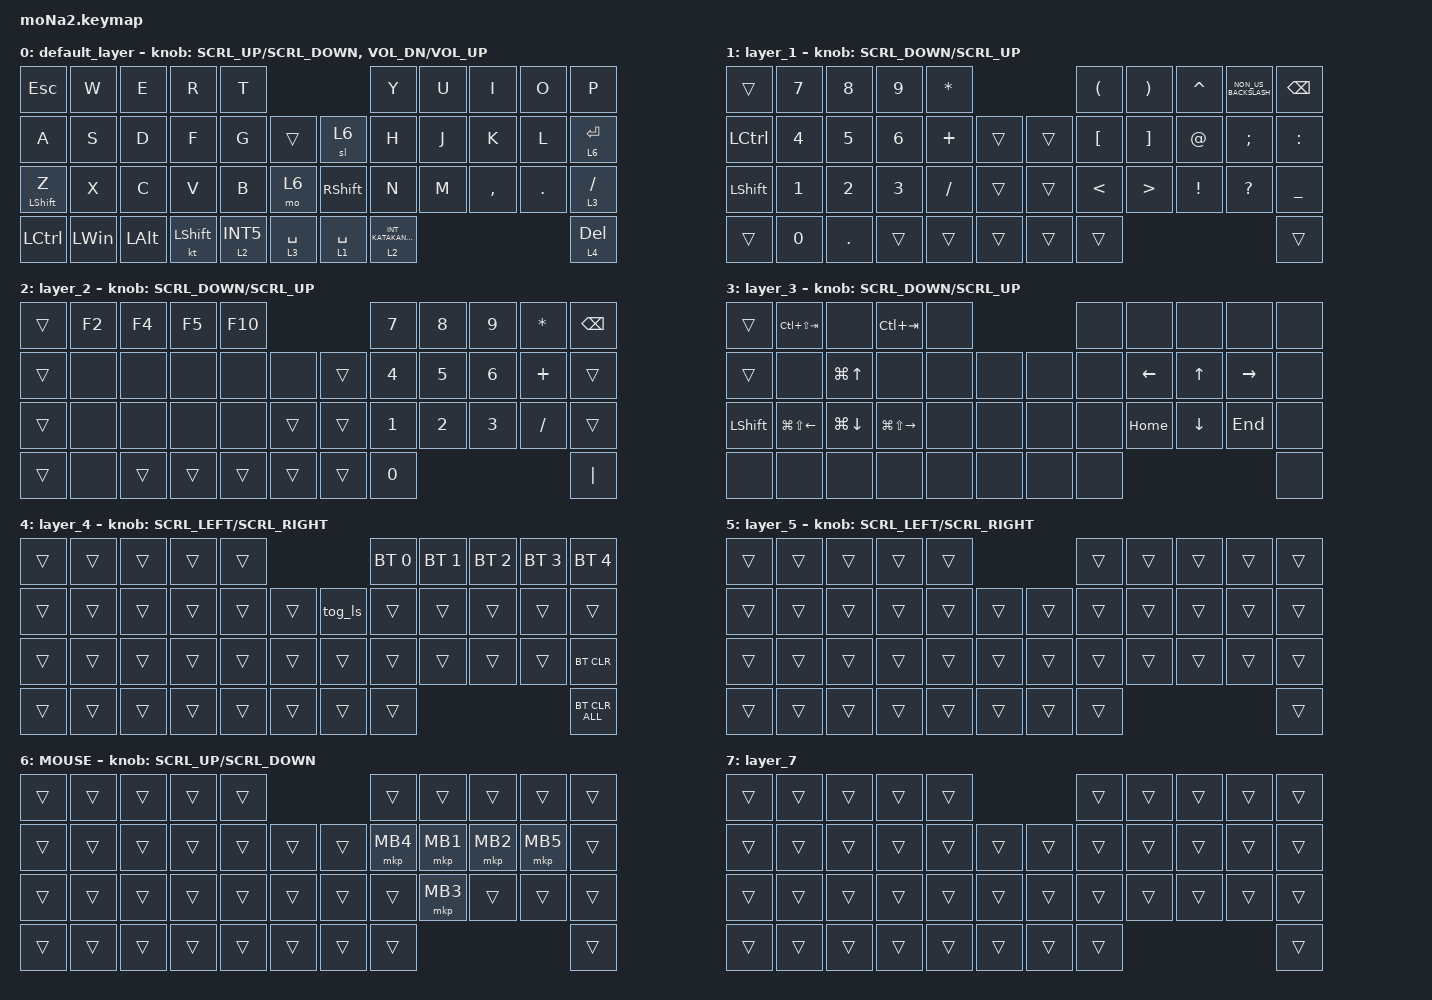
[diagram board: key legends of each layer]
#include <layout_shift.dtsi>
#include <layout_shift_kp_override.dtsi>
#include <behaviors.dtsi>
#include <dt-bindings/zmk/bt.h>
#include <dt-bindings/zmk/keys.h>
#include <dt-bindings/zmk/pointing.h>

#define ZMK_POINTING_DEFAULT_SCRL_VAL 100
#define MOUSE 6

&mt {
    flavor = "balanced";
    quick-tap-ms = <0>;
};

/ {
    combos {
        compatible = "zmk,combos";

        Qinput {
            bindings = <&kp Q>;
            key-positions = <0 1>;
        };

        hyphen {
            bindings = <&kp MINUS>;
            key-positions = <8 7>;
        };

        Backspace {
            bindings = <&kp BACKSPACE>;
            key-positions = <8 9>;
        };

        Screenshot {
            bindings = <&kp LG(LS(S))>;
            key-positions = <34 35 36>;
        };

        pagedown {
            bindings = <&kp PAGE_DOWN>;
            key-positions = <32 31>;
        };

        pageup {
            bindings = <&kp PAGE_UP>;
            key-positions = <31 30>;
        };

        new_explorer {
            bindings = <&kp LG(E)>;
            key-positions = <11 12 13>;
        };

        Left_Shift {
            bindings = <&kp LEFT_SHIFT>;
            key-positions = <22 23>;
        };

        tab {
            bindings = <&kp TAB>;
            key-positions = <10 11>;
        };
    };

    macros {
        to_layer_0: to_layer_0 {
            compatible = "zmk,behavior-macro-one-param";
            #binding-cells = <1>;
            bindings = <&to 0 &macro_param_1to1 &kp MACRO_PLACEHOLDER>;
            label = "TO_LAYER_0";
        };
    };

    behaviors {
        lt_to_layer_0: lt_to_layer_0 {
            compatible = "zmk,behavior-hold-tap";
            label = "LAYER_TAP_TO_0";
            bindings = <&mo>, <&to_layer_0>;

            #binding-cells = <2>;
            tapping-term-ms = <200>;
        };

        mouse_scroll: mouse_wheel_scrl {
            compatible = "zmk,behavior-sensor-rotate-var";
            #sensor-binding-cells = <2>;
            bindings = <&msc>, <&msc>;

            // 追加: スクロールのタップ時間を設定 (20ms)

            tap-ms = <20>;
        };

        //scroll_up_down: behavior_sensor_rotate_mouse_wheel_up_down {
        //    compatible = "zmk,behavior-sensor-rotate";
        //    #sensor-binding-cells = <0>;
        //    bindings = <&msc SCRL_UP>, <&msc SCRL_DOWN>;
        //    tap-ms = <20>;
        //};
    };

    keymap {
        compatible = "zmk,keymap";

        default_layer {
            bindings = <
&kp ESC           &kp W         &kp E         &kp R           &kp T                                       &kp Y                       &kp U  &kp I      &kp O    &kp P
&kp A             &kp S         &kp D         &kp F           &kp G       &trans         &sl 6            &kp H                       &kp J  &kp K      &kp L    &lt 6 ENTER
&mt LEFT_SHIFT Z  &kp X         &kp C         &kp V           &kp B       &mo 6          &kp RIGHT_SHIFT  &kp N                       &kp M  &kp COMMA  &kp DOT  &lt 3 SLASH
&kp LCTRL         &kp LEFT_WIN  &kp LEFT_ALT  &kt LEFT_SHIFT  &lt 2 INT5  &lt 3 SPACE    &lt 1 SPACE      &lt 2 INT_KATAKANAHIRAGANA                             &lt 4 DEL
            >;

            sensor-bindings =
                <&mouse_scroll SCRL_UP SCRL_DOWN>,
                <&inc_dec_kp C_VOL_DN C_VOL_UP>;
        };

        layer_1 {
            bindings = <
&trans            &kp N7  &kp N8   &kp N9  &kp STAR                    &kp LEFT_PARENTHESIS  &kp RIGHT_PARENTHESIS  &kp CARET        &kp NON_US_BACKSLASH  &kp BACKSPACE
&kp LEFT_CONTROL  &kp N4  &kp N5   &kp N6  &kp PLUS  &trans    &trans  &kp LBKT              &kp RBKT               &kp AT_SIGN      &kp SEMI              &kp COLON
&kp LSHFT         &kp N1  &kp N2   &kp N3  &kp FSLH  &trans    &trans  &kp LESS_THAN         &kp GREATER_THAN       &kp EXCLAMATION  &kp QUESTION          &kp UNDER
&trans            &kp N0  &kp DOT  &trans  &trans    &trans    &trans  &trans                                                                              &trans
            >;

            sensor-bindings = <&mouse_scroll SCRL_DOWN SCRL_UP>;
        };

        layer_2 {
            bindings = <
&trans  &kp F2  &kp F4  &kp F5  &kp F10                    &kp NUMBER_7  &kp NUMBER_8  &kp NUMBER_9  &kp ASTERISK  &kp BACKSPACE
&trans  &none   &none   &none   &none    &none     &trans  &kp NUMBER_4  &kp NUMBER_5  &kp NUMBER_6  &kp PLUS      &trans
&trans  &none   &none   &none   &none    &trans    &trans  &kp NUMBER_1  &kp NUMBER_2  &kp NUMBER_3  &kp SLASH     &trans
&trans  &none   &trans  &trans  &trans   &trans    &trans  &kp NUMBER_0                                            &kp PIPE
            >;

            sensor-bindings = <&mouse_scroll SCRL_DOWN SCRL_UP>;
        };

        layer_3 {
            bindings = <
&trans          &kp LC(LS(TAB))         &none               &kp LC(TAB)              &none                  &none  &none     &none         &none      &none
&trans          &none                   &kp LG(UP_ARROW)    &none                    &none  &none    &none  &none  &kp LEFT  &kp UP_ARROW  &kp RIGHT  &none
&kp LEFT_SHIFT  &kp LG(LS(LEFT_ARROW))  &kp LG(DOWN_ARROW)  &kp LG(LS(RIGHT_ARROW))  &none  &none    &none  &none  &kp HOME  &kp DOWN      &kp END    &none
&none           &none                   &none               &none                    &none  &none    &none  &none                                     &none
            >;

            sensor-bindings = <&mouse_scroll SCRL_DOWN SCRL_UP>;
        };

        layer_4 {
            bindings = <
&trans  &trans  &trans  &trans  &trans                     &bt BT_SEL 0  &bt BT_SEL 1  &bt BT_SEL 2  &bt BT_SEL 3  &bt BT_SEL 4
&trans  &trans  &trans  &trans  &trans  &trans    &tog_ls  &trans        &trans        &trans        &trans        &trans
&trans  &trans  &trans  &trans  &trans  &trans    &trans   &trans        &trans        &trans        &trans        &bt BT_CLR
&trans  &trans  &trans  &trans  &trans  &trans    &trans   &trans                                                  &bt BT_CLR_ALL
            >;

            sensor-bindings = <&mouse_scroll SCRL_LEFT SCRL_RIGHT>;
        };

        layer_5 {
            bindings = <
&trans  &trans  &trans  &trans  &trans                    &trans  &trans  &trans  &trans  &trans
&trans  &trans  &trans  &trans  &trans  &trans    &trans  &trans  &trans  &trans  &trans  &trans
&trans  &trans  &trans  &trans  &trans  &trans    &trans  &trans  &trans  &trans  &trans  &trans
&trans  &trans  &trans  &trans  &trans  &trans    &trans  &trans                          &trans
            >;

            sensor-bindings = <&mouse_scroll SCRL_LEFT SCRL_RIGHT>;
        };

        MOUSE {
            bindings = <
&trans  &trans  &trans  &trans  &trans                    &trans    &trans    &trans    &trans    &trans
&trans  &trans  &trans  &trans  &trans  &trans    &trans  &mkp MB4  &mkp MB1  &mkp MB2  &mkp MB5  &trans
&trans  &trans  &trans  &trans  &trans  &trans    &trans  &trans    &mkp MB3  &trans    &trans    &trans
&trans  &trans  &trans  &trans  &trans  &trans    &trans  &trans                                  &trans
            >;

            sensor-bindings = <&mouse_scroll SCRL_UP SCRL_DOWN>;
        };

        layer_7 {
            bindings = <
&trans  &trans  &trans  &trans  &trans                    &trans  &trans  &trans  &trans  &trans
&trans  &trans  &trans  &trans  &trans  &trans    &trans  &trans  &trans  &trans  &trans  &trans
&trans  &trans  &trans  &trans  &trans  &trans    &trans  &trans  &trans  &trans  &trans  &trans
&trans  &trans  &trans  &trans  &trans  &trans    &trans  &trans                          &trans
            >;
        };
    };
};
